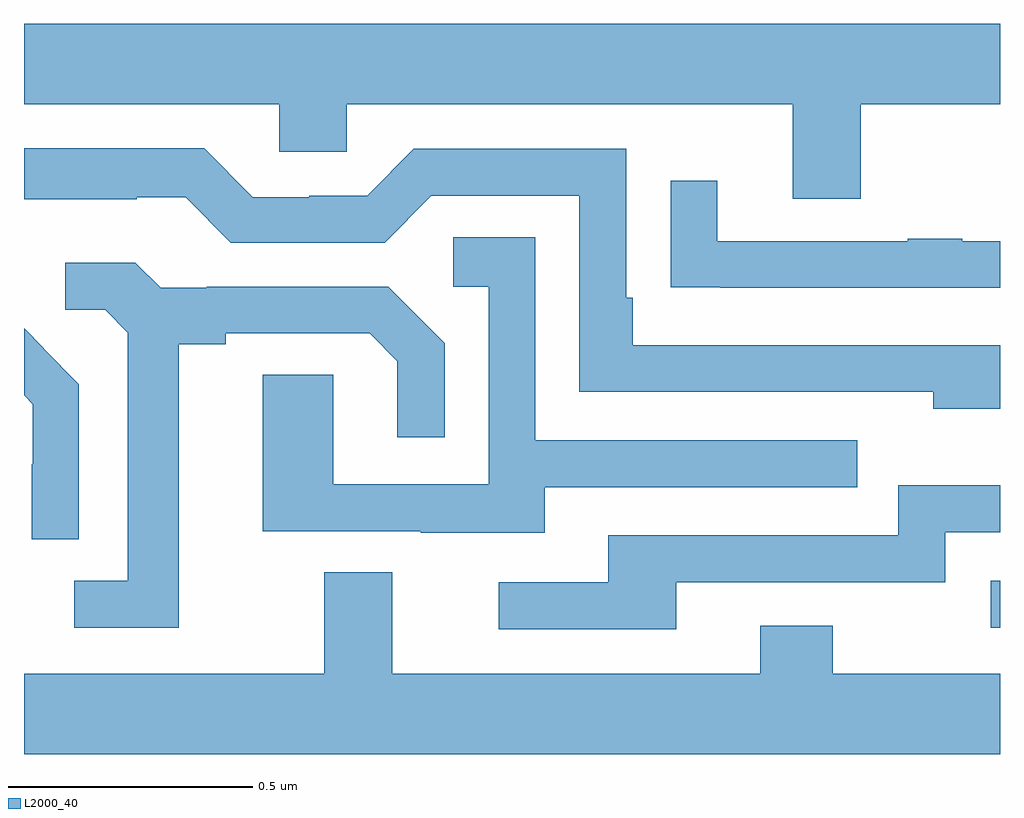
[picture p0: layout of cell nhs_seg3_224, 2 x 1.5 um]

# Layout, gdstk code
import gdstk
lib = gdstk.Library(unit=1e-6, precision=1e-09)
def R(c, l, rs):  # rectangles x0, y0, x1, y1
    for r in rs: c.add(gdstk.rectangle(r[:2], r[2:], *l))
def P(c, l, *ps):  # polygons
    for p in ps: c.add(gdstk.Polygon(p, *l))
L2000_40 = (2000, 40)

nhs_seg3_224 = lib.new_cell('nhs_seg3_224')
R(nhs_seg3_224, L2000_40, [(114.981,729.147,115,729.243)])
P(nhs_seg3_224, L2000_40, [(114.715,730.22),(115,730.22),(115,730.384),(113,730.384),(113,730.22),(113.523,730.22),(113.523,730.122),(113.661,730.122),(113.661,730.22),(114.575,730.22),(114.575,730.026),(114.715,730.026)],
  [(115,729.726),(114.247,729.726),(114.247,729.823),(114.234,729.823),(114.234,730.128),(113.799,730.128),(113.703,730.032),(113.585,730.032),(113.585,730.029),(113.469,730.029),(113.369,730.129),(113,730.129),(113,730.025),(113.231,730.025),(113.231,730.029),(113.331,730.029),(113.424,729.936),(113.739,729.936),(113.835,730.032),(114.138,730.032),(114.138,729.63),(114.863,729.63),(114.863,729.596),(115,729.596)],
  [(115,729.939),(114.923,729.939),(114.923,729.944),(114.811,729.944),(114.811,729.939),(114.421,729.939),(114.421,730.063),(114.325,730.063),(114.325,729.844),(114.427,729.844),(114.427,729.843),(115,729.843)],
  [(114.067,729.435),(114.707,729.435),(114.707,729.531),(114.048,729.531),(114.048,729.947),(113.88,729.947),(113.88,729.846),(113.952,729.846),(113.952,729.441),(113.634,729.441),(113.634,729.665),(113.489,729.665),(113.489,729.345),(113.813,729.345),(113.813,729.341),(114.067,729.341)],
  [(113.317,729.728),(113.413,729.728),(113.413,729.75),(113.708,729.75),(113.765,729.693),(113.765,729.537),(113.862,729.537),(113.862,729.73),(113.746,729.846),(113.374,729.846),(113.374,729.843),(113.28,729.843),(113.228,729.895),(113.085,729.895),(113.085,729.798),(113.166,729.798),(113.213,729.751),(113.213,729.243),(113.103,729.243),(113.103,729.147),(113.317,729.147)],
  [(113.112,729.646),(113.039,729.719),(113.04,729.72),(113,729.76),(113,729.623),(113.018,729.605),(113.018,729.482),(113.016,729.482),(113.016,729.328),(113.112,729.328)],
  [(114.337,729.24),(114.888,729.24),(114.888,729.342),(115,729.342),(115,729.439),(114.792,729.439),(114.792,729.336),(114.197,729.336),(114.197,729.24),(113.973,729.24),(113.973,729.144),(114.337,729.144)],
  [(115,729.052),(114.657,729.052),(114.657,729.151),(114.509,729.151),(114.509,729.052),(113.755,729.052),(113.755,729.26),(113.615,729.26),(113.615,729.052),(113,729.052),(113,728.888),(115,728.888)])

lib.write_gds('nhs_seg3_224.gds')
